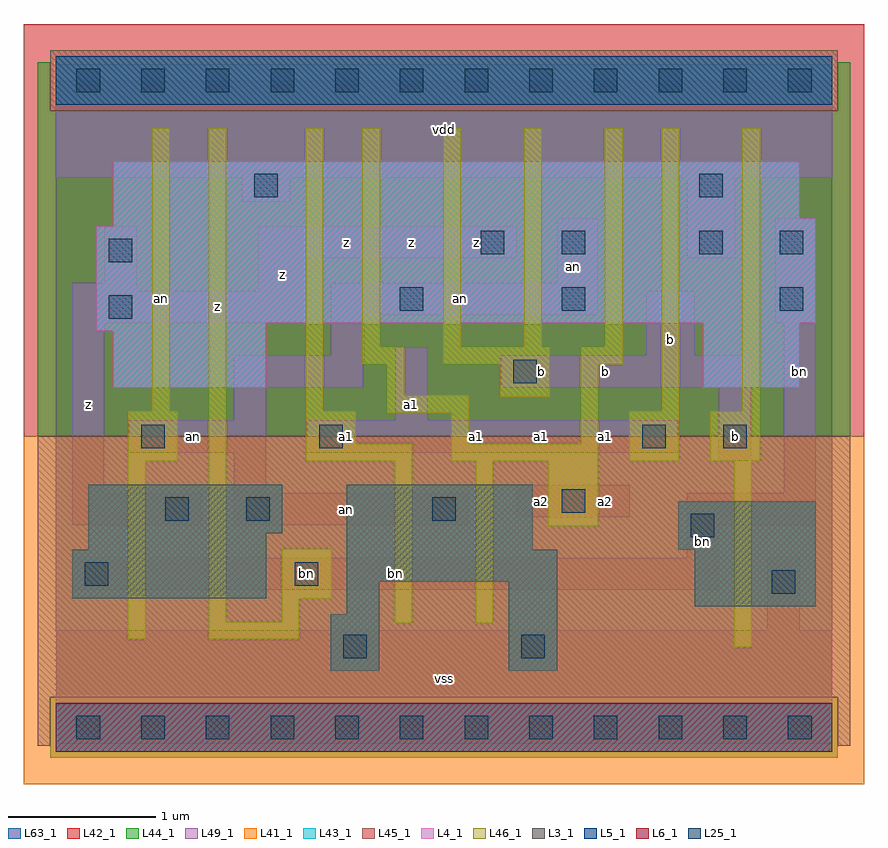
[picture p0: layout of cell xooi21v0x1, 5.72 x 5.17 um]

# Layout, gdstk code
import gdstk
lib = gdstk.Library(unit=1e-6, precision=1e-09)
def R(c, l, rs):  # rectangles x0, y0, x1, y1
    for r in rs: c.add(gdstk.rectangle(r[:2], r[2:], *l))
def A(c, l, x, y, w, h, nx, ny, dx, dy):  # array of equal rectangles
    R(c, l, [(x+i*dx, y+j*dy, x+i*dx+w, y+j*dy+h) for i in range(nx) for j in range(ny)])
L3_1 = (3, 1)
L4_1 = (4, 1)
L5_1 = (5, 1)
L6_1 = (6, 1)
L25_1 = (25, 1)
L41_1 = (41, 1)
L42_1 = (42, 1)
L43_1 = (43, 1)
L44_1 = (44, 1)
L45_1 = (45, 1)
L46_1 = (46, 1)
L49_1 = (49, 1)
L63_1 = (63, 1)

xooi21v0x1 = lib.new_cell('xooi21v0x1')
R(xooi21v0x1, L3_1, [(1.87,0.385,2.2,0.77), (3.08,0.385,3.41,0.99), (1.98,0.77,2.2,0.99), (4.345,0.825,5.17,1.21), (0.11,0.88,1.43,1.21), (1.98,0.99,3.41,1.21), (0.22,1.21,1.43,1.32), (1.98,1.21,3.245,1.65), (4.235,1.21,5.17,1.54), (0.22,1.32,1.54,1.65)])
R(xooi21v0x1, L4_1, [(0.385,2.31,1.43,2.695), (4.4,2.31,5.06,2.75), (0.275,2.695,1.43,2.75), (0.275,2.75,5.17,3.41), (0.385,3.41,5.17,3.465), (0.385,3.465,5.06,3.85)])
R(xooi21v0x1, L5_1, [(0,4.235,5.28,4.565)])
R(xooi21v0x1, L6_1, [(0,-0.165,5.28,0.165)])
A(xooi21v0x1, L25_1, 0.14, -0.08, 0.16, 0.16, 12, 2, 0.44, 4.4)
R(xooi21v0x1, L25_1, [(1.955,0.47,2.115,0.63), (3.165,0.47,3.325,0.63), (4.87,0.91,5.03,1.07), (0.195,0.965,0.355,1.125), (1.625,0.965,1.785,1.125), (4.32,1.295,4.48,1.455), (0.745,1.405,0.905,1.565), (1.295,1.405,1.455,1.565), (2.56,1.405,2.72,1.565), (3.44,1.46,3.6,1.62), (0.58,1.9,0.74,2.06), (1.79,1.9,1.95,2.06), (3.99,1.9,4.15,2.06), (4.54,1.9,4.7,2.06), (3.11,2.34,3.27,2.5), (0.36,2.78,0.52,2.94), (2.34,2.835,2.5,2.995), (3.44,2.835,3.6,2.995), (4.925,2.835,5.085,2.995), (0.36,3.165,0.52,3.325), (2.89,3.22,3.05,3.38), (3.44,3.22,3.6,3.38), (4.375,3.22,4.535,3.38), (4.925,3.22,5.085,3.38), (1.35,3.605,1.51,3.765), (4.375,3.605,4.535,3.765)])
R(xooi21v0x1, L41_1, [(-0.22,-0.385,5.5,1.98)])
R(xooi21v0x1, L42_1, [(-0.22,1.98,5.5,4.785)])
R(xooi21v0x1, L43_1, [(0,-0.165,5.28,0.165), (1.87,0.385,2.2,0.77), (3.08,0.385,3.41,0.99), (1.98,0.77,2.2,0.99), (4.345,0.825,5.17,1.21), (0.11,0.88,1.43,1.21), (1.98,0.99,3.41,1.21), (0.22,1.21,1.43,1.32), (1.98,1.21,3.245,1.65), (4.235,1.21,5.17,1.54), (0.22,1.32,1.54,1.65), (0.385,2.31,1.43,2.695), (4.4,2.31,5.06,2.75), (0.275,2.695,1.43,2.75), (0.275,2.75,5.17,3.41), (0.385,3.41,5.17,3.465), (0.385,3.465,5.06,3.85), (0,4.235,5.28,4.565)])
R(xooi21v0x1, L44_1, [(-0.04,-0.205,5.32,0.205), (-0.125,1.98,5.405,4.195), (-0.125,4.195,-0.04,4.525), (5.32,4.195,5.405,4.525)])
R(xooi21v0x1, L45_1, [(-0.125,-0.125,-0.04,0.205), (5.32,-0.125,5.405,0.205), (-0.125,0.205,5.405,1.98), (-0.04,4.195,5.32,4.605)])
A(xooi21v0x1, L46_1, 2.085, 2.59, 0.12, 1.485, 4, 1, 0.55, 0)
R(xooi21v0x1, L46_1, [(4.615,0.545,4.735,1.81), (0.49,0.6,0.61,1.81), (1.04,0.6,1.655,0.72), (2.305,0.71,2.425,1.81), (2.855,0.71,2.975,1.81), (1.04,0.72,1.16,4.075), (1.535,0.72,1.655,0.875), (1.535,0.875,1.875,1.215), (3.35,1.37,3.69,1.81), (0.49,1.81,0.83,2.15), (1.7,1.81,2.425,1.93), (2.69,1.81,3.69,1.93), (3.9,1.81,4.24,2.15), (4.45,1.81,4.79,2.15), (1.7,1.93,2.04,2.15), (2.69,1.93,2.81,2.14), (3.57,1.93,3.69,2.47), (2.25,2.14,2.81,2.26), (0.655,2.15,0.775,4.075), (1.7,2.15,1.82,4.075), (4.12,2.15,4.24,4.075), (4.67,2.15,4.79,4.075), (3.02,2.25,3.36,2.47), (2.25,2.26,2.37,2.47), (2.085,2.47,2.37,2.59), (2.635,2.47,3.36,2.59), (3.57,2.47,3.855,2.59)])
R(xooi21v0x1, L49_1, [(0,-0.11,5.28,0.66), (4.84,0.66,5.06,1.155), (0.11,0.935,4.51,1.155), (4.29,1.155,4.51,1.375), (0.11,1.375,0.99,1.595), (1.21,1.375,2.805,1.595), (4.29,1.375,5.17,1.595), (3.135,1.43,3.905,1.65), (0.11,1.595,0.33,2.75), (1.21,1.595,1.43,1.87), (4.95,1.595,5.17,2.75), (4.51,1.815,4.73,2.31), (0.495,1.87,1.43,2.09), (1.705,1.87,4.235,2.09), (1.21,2.09,1.43,2.31), (2.31,2.09,2.53,2.585), (1.21,2.31,2.09,2.53), (3.025,2.31,4.73,2.53), (1.87,2.53,2.09,2.805), (4.015,2.53,4.345,2.97), (0.11,2.75,1.705,2.97), (4.895,2.75,5.17,3.465), (1.87,2.805,3.685,3.025), (0.11,2.97,0.55,3.025), (1.375,2.97,1.705,3.19), (0.33,3.025,0.55,3.41), (3.41,3.025,3.685,3.465), (1.375,3.19,3.135,3.41), (4.29,3.19,4.62,3.74), (1.265,3.575,1.595,3.74), (0,3.74,5.28,4.51)])
R(xooi21v0x1, L63_1, [(0,0,5.28,4.4)])
xooi21v0x1.add(gdstk.Label('an', (0.715,2.915), layer=46, texttype=1))
xooi21v0x1.add(gdstk.Label('bn', (1.705,1.045), layer=49, texttype=1))
xooi21v0x1.add(gdstk.Label('z', (0.22,2.2), layer=49, texttype=1))
xooi21v0x1.add(gdstk.Label('z', (0.66,2.86), layer=49, texttype=1))
xooi21v0x1.add(gdstk.Label('an', (0.935,1.98), layer=49, texttype=1))
xooi21v0x1.add(gdstk.Label('z', (1.1,2.86), layer=49, texttype=1))
xooi21v0x1.add(gdstk.Label('z', (1.54,3.08), layer=49, texttype=1))
xooi21v0x1.add(gdstk.Label('vss', (2.64,0.33), layer=49, texttype=1))
xooi21v0x1.add(gdstk.Label('an', (1.98,1.485), layer=49, texttype=1))
xooi21v0x1.add(gdstk.Label('a1', (1.98,1.98), layer=49, texttype=1))
xooi21v0x1.add(gdstk.Label('a1', (2.42,2.2), layer=49, texttype=1))
xooi21v0x1.add(gdstk.Label('a1', (2.86,1.98), layer=49, texttype=1))
xooi21v0x1.add(gdstk.Label('z', (1.98,3.3), layer=49, texttype=1))
xooi21v0x1.add(gdstk.Label('z', (2.42,3.3), layer=49, texttype=1))
xooi21v0x1.add(gdstk.Label('z', (2.86,3.3), layer=49, texttype=1))
xooi21v0x1.add(gdstk.Label('vdd', (2.64,4.07), layer=49, texttype=1))
xooi21v0x1.add(gdstk.Label('a2', (3.3,1.54), layer=49, texttype=1))
xooi21v0x1.add(gdstk.Label('a2', (3.74,1.54), layer=49, texttype=1))
xooi21v0x1.add(gdstk.Label('a1', (3.3,1.98), layer=49, texttype=1))
xooi21v0x1.add(gdstk.Label('b', (3.3,2.42), layer=49, texttype=1))
xooi21v0x1.add(gdstk.Label('a1', (3.74,1.98), layer=49, texttype=1))
xooi21v0x1.add(gdstk.Label('b', (3.74,2.42), layer=49, texttype=1))
xooi21v0x1.add(gdstk.Label('b', (4.18,2.64), layer=49, texttype=1))
xooi21v0x1.add(gdstk.Label('an', (2.75,2.915), layer=49, texttype=1))
xooi21v0x1.add(gdstk.Label('an', (3.52,3.135), layer=49, texttype=1))
xooi21v0x1.add(gdstk.Label('bn', (4.4,1.265), layer=49, texttype=1))
xooi21v0x1.add(gdstk.Label('bn', (2.31,1.045), layer=49, texttype=1))
xooi21v0x1.add(gdstk.Label('b', (4.62,1.98), layer=49, texttype=1))
xooi21v0x1.add(gdstk.Label('bn', (5.06,2.42), layer=49, texttype=1))

lib.write_gds('xooi21v0x1.gds')
